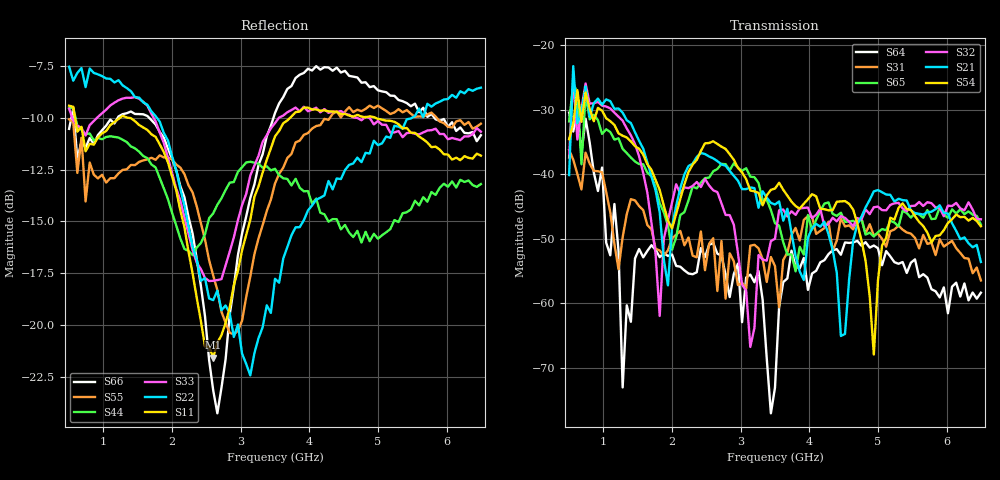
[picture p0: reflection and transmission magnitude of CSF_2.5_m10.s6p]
!Keysight Technologies,M9804A,MY58100912,A.14.10.03
!Date: Thursday, April 27, 2023 10:28:33
!Correction: S11(C  6-Port  )
!S12(C  6-Port  )
!S13(C  6-Port  )
!S14(C  6-Port  )
!S15(C  6-Port  )
!S16(C  6-Port  )
!S21(C  6-Port  )
!S22(C  6-Port  )
!S23(C  6-Port  )
!S24(C  6-Port  )
!S25(C  6-Port  )
!S26(C  6-Port  )
!S31(C  6-Port  )
!S32(C  6-Port  )
!S33(C  6-Port  )
!S34(C  6-Port  )
!S35(C  6-Port  )
!S36(C  6-Port  )
!S41(C  6-Port  )
!S42(C  6-Port  )
!S43(C  6-Port  )
!S44(C  6-Port  )
!S45(C  6-Port  )
!S46(C  6-Port  )
!S51(C  6-Port  )
!S52(C  6-Port  )
!S53(C  6-Port  )
!S54(C  6-Port  )
!S55(C  6-Port  )
!S56(C  6-Port  )
!S61(C  6-Port  )
!S62(C  6-Port  )
!S63(C  6-Port  )
!S64(C  6-Port  )
!S65(C  6-Port  )
!S66(C  6-Port  )
!S6P File: Measurement: :
# Hz S  RI  R 50
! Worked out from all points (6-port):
!   101 points, 500 MHz to 6.5 GHz, reference 50 ohm
!   strongest paths, dB at 500 MHz, 2 GHz, 3.5 GHz, 5 GHz, 6.5 GHz:
!     S54: -34.6, -48.4, -42.2, -56.5, -48.1
!     S21: -40.1, -48.1, -44.7, -42.5, -53.6
!     S32: -37.4, -44.4, -50.0, -45.0, -47.0
!     S65: -31.8, -51.7, -47.6, -49.0, -47.8
!     S31: -36.2, -50.0, -54.2, -49.2, -56.4
!     S64: -30.5, -52.4, -73.0, -51.5, -58.3
!   lowest |S11| = -21.6 dB at 2.6 GHz (marker M1), VSWR 1.18, Z = 42.6 + j2.02 ohm
!   |S11| at or under -10 dB: 587.3 MHz to 1.236 GHz (648.4 MHz wide, 71.1 % of centre); 1.395 GHz to 3.715 GHz (2.32 GHz wide, 90.8 % of centre); 4.974 GHz to end of sweep
